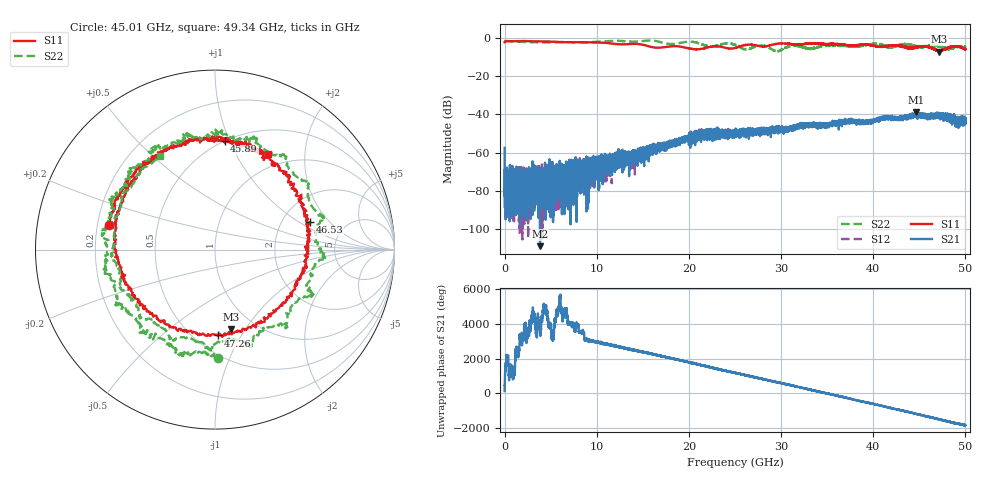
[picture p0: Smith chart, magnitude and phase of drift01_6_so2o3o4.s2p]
!Created with skrf (http://scikit-rf.org).
# Hz S RI R 50.0
!freq ReS11 ImS11 ReS21 ImS21 ReS12 ImS12 ReS22 ImS22
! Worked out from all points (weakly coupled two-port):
!   10001 points, 300 kHz to 50 GHz, reference 50 ohm
!   highest |S21| = -38.95 dB at 44.64 GHz (marker M1); lowest = -109.3 dB at 3.845 GHz (marker M2)
!   lowest |S11| = -6.9 dB at 47.19 GHz (marker M3), VSWR 2.66, Z = 38.7 - j43.3 ohm
!   |S11| at or under -10 dB: nowhere
!   |S22| runs from -6.9 to -1.1 dB; largest |S21 - S12| = 0.0038
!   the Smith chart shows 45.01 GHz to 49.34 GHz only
!   S11 on the Smith chart (normalised r, x): 45.01 GHz: 0.25, +0.11; 45.89 GHz: 0.50, +0.96; 46.53 GHz: 2.85, +1.25; 47.26 GHz: 0.65, -0.80; 49.34 GHz: 0.80, +1.36
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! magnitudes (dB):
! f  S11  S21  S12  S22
! 300 kHz  -2.1  -57.5  -73.4  -1.3
! 260.3 MHz  -1.4  -75.5  -76.6  -1.4
! 3.845 GHz  -1.6  -109.3  -87.5  -2.0
! 6.54 GHz  -1.9  -70.7  -71.0  -1.9
! 8.335 GHz  -1.9  -72.6  -69.7  -2.1
! 16.67 GHz  -4.9  -58.4  -59.0  -1.6
! 21.46 GHz  -5.4  -52.4  -50.8  -3.2
! 25 GHz  -5.0  -51.7  -50.5  -3.4
! 26.18 GHz  -3.4  -48.9  -48.8  -5.8
! 28.09 GHz  -4.3  -49.3  -49.0  -3.8
! 29.51 GHz  -2.8  -48.2  -48.5  -6.7
! 31.27 GHz  -3.1  -47.2  -47.0  -4.0
! 33.34 GHz  -2.6  -45.2  -45.5  -5.3
! 41.67 GHz  -3.9  -41.0  -41.8  -4.6
! 44.64 GHz  -4.6  -38.9  -40.3  -3.8
! 45.01 GHz  -4.3  -39.9  -40.3  -4.4
! 45.89 GHz  -4.4  -40.2  -41.6  -4.4
! 46.53 GHz  -5.2  -40.9  -40.9  -4.2
! 47.19 GHz  -6.9  -40.5  -40.6  -4.5
! 47.26 GHz  -6.4  -40.0  -40.9  -4.2
! 49.34 GHz  -4.3  -45.0  -43.7  -4.4
! 50 GHz  -5.6  -42.0  -44.6  -4.2
